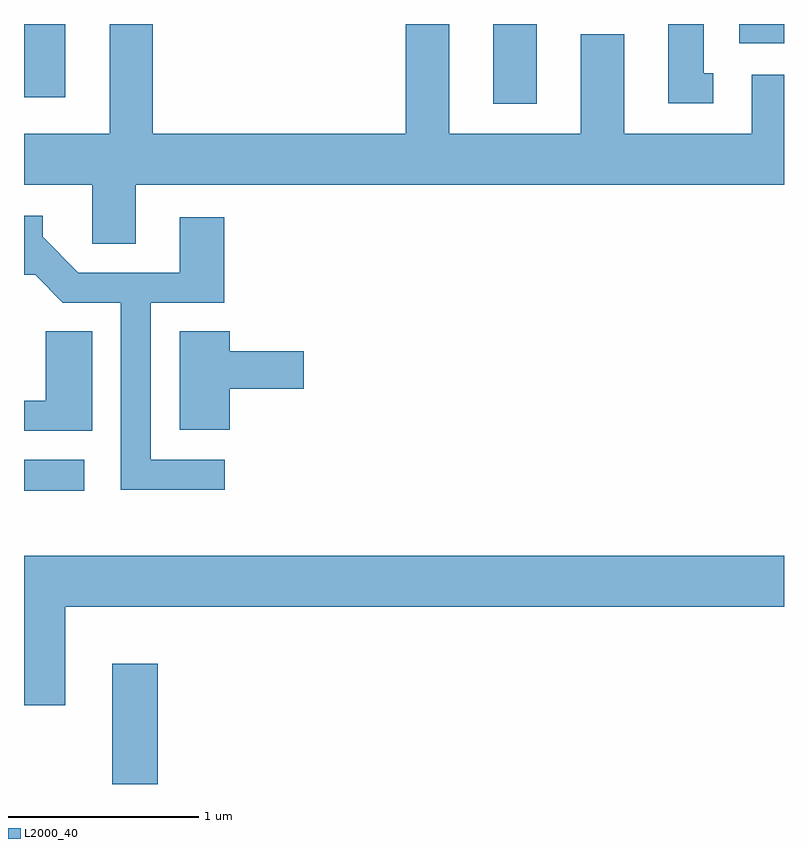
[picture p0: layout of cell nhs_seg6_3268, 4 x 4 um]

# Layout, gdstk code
import gdstk
lib = gdstk.Library(unit=1e-6, precision=1e-09)
def R(c, l, rs):  # rectangles x0, y0, x1, y1
    for r in rs: c.add(gdstk.rectangle(r[:2], r[2:], *l))
def P(c, l, *ps):  # polygons
    for p in ps: c.add(gdstk.Polygon(p, *l))
L2000_40 = (2000, 40)

nhs_seg6_3268 = lib.new_cell('nhs_seg6_3268')
R(nhs_seg6_3268, L2000_40, [(284.076,1600.162,284.314,1600.794), (283.611,1601.706,283.928,1601.869), (286.081,1603.741,286.309,1604.162), (283.611,1603.776,283.829,1604.162), (287.376,1604.061,287.611,1604.162)])
P(nhs_seg6_3268, L2000_40, [(284.199,1603.316),(287.611,1603.316),(287.611,1603.894),(287.441,1603.894),(287.441,1603.584),(286.769,1603.584),(286.769,1604.109),(286.541,1604.109),(286.541,1603.584),(285.849,1603.584),(285.849,1604.162),(285.621,1604.162),(285.621,1603.584),(284.289,1603.584),(284.289,1604.162),(284.061,1604.162),(284.061,1603.584),(283.611,1603.584),(283.611,1603.316),(283.971,1603.316),(283.971,1603.006),(284.199,1603.006)],
  [(287.238,1603.904),(287.189,1603.904),(287.189,1604.162),(287.001,1604.162),(287.001,1603.746),(287.238,1603.746)],
  [(284.668,1601.869),(284.279,1601.869),(284.279,1602.696),(284.664,1602.696),(284.664,1603.144),(284.431,1603.144),(284.431,1602.854),(283.897,1602.854),(283.709,1603.042),(283.709,1603.154),(283.611,1603.154),(283.611,1602.841),(283.669,1602.841),(283.814,1602.696),(284.121,1602.696),(284.121,1601.711),(284.668,1601.711)],
  [(284.694,1602.241),(285.084,1602.241),(285.084,1602.439),(284.694,1602.439),(284.694,1602.544),(284.431,1602.544),(284.431,1602.026),(284.694,1602.026)],
  [(283.969,1602.544),(283.726,1602.544),(283.726,1602.179),(283.611,1602.179),(283.611,1602.021),(283.969,1602.021)],
  [(283.829,1601.096),(287.611,1601.096),(287.611,1601.364),(283.611,1601.364),(283.611,1600.576),(283.829,1600.576)])

lib.write_gds('nhs_seg6_3268.gds')
